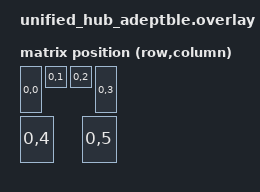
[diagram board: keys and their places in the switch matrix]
#include <dt-bindings/zmk/matrix_transform.h>
#include <physical_layouts.dtsi>

/ {
    chosen {
        zmk,kscan = &kscan0;
        zmk,physical-layout = &physical_layout0;
    };

    kscan0: kscan {
        compatible = "zmk,kscan-mock";
        events = <>;
    };

    default_transform: keymap_transform_0 {
        compatible = "zmk,matrix-transform";
        rows = <2>;
        columns = <4>;
        map = <
            RC(0,0) RC(0,1) RC(0,2) RC(0,3)
            RC(0,4) RC(0,5)
        >;
    };

    physical_layout0: physical_layout_0 {
        compatible = "zmk,physical-layout";
        display-name = "Default Layout";

        transform = <&default_transform>;

        keys
            = <&key_physical_attrs  50 100    0    0       0     0     0>
            , <&key_physical_attrs  50  50   50    0       0     0     0>
            , <&key_physical_attrs  50  50  100    0       0     0     0>
            , <&key_physical_attrs  50 100  150    0       0     0     0>
            , <&key_physical_attrs  75 100    0  100       0     0     0>
            , <&key_physical_attrs  75 100  125  100       0     0     0>
            ;
    };

    position_map {
        compatible = "zmk,physical-layout-position-map";

        complete;

        layout1: layout1 {
            physical-layout = <&physical_layout0>;
            positions
                = < 0  1  2  3>
                , < 4        5>
                ;
        };
    };
};
